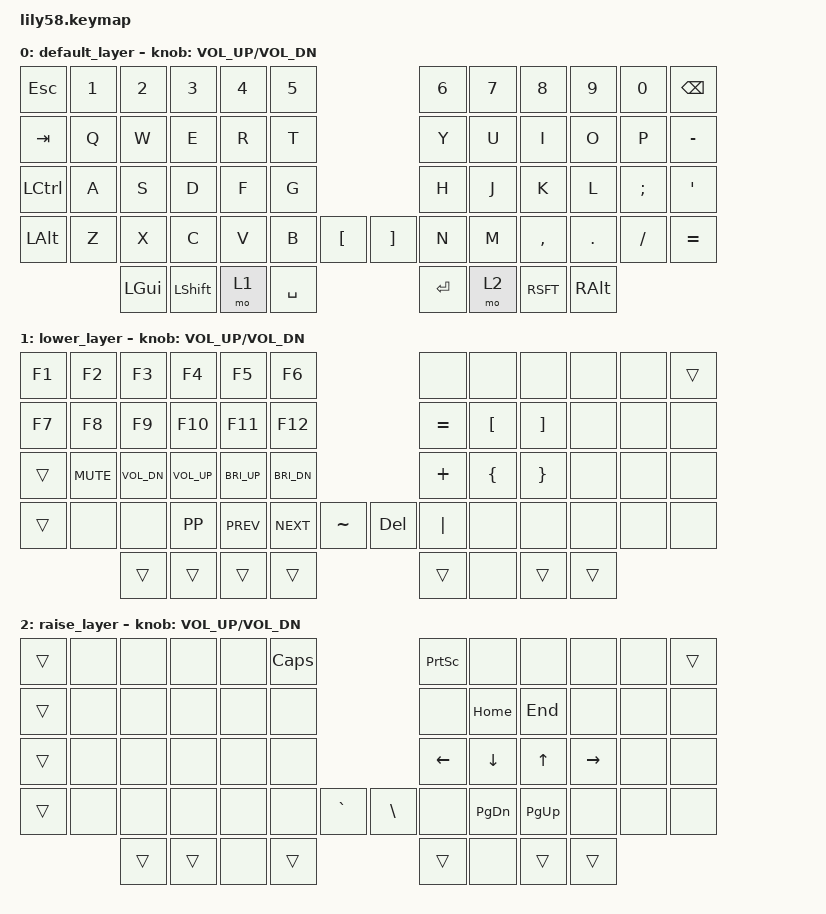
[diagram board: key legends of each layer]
/*
 * Copyright (c) 2020 The ZMK Contributors
 *
 * SPDX-License-Identifier: MIT
 */

#include <behaviors.dtsi>
#include <dt-bindings/zmk/keys.h>
#include <dt-bindings/zmk/bt.h>
#include <dt-bindings/zmk/ext_power.h>

/ {
    keymap {
        compatible = "zmk,keymap";

        default_layer {
            bindings = <
&kp ESC   &kp N1    &kp N2    &kp N3    &kp N4   &kp N5                         &kp N6   &kp N7   &kp N8    &kp N9    &kp N0   &kp BSPC
&kp TAB   &kp Q     &kp W     &kp E     &kp R    &kp T                          &kp Y    &kp U    &kp I     &kp O     &kp P    &kp MINUS
&kp LCTRL &kp A     &kp S     &kp D     &kp F    &kp G                          &kp H    &kp J    &kp K     &kp L     &kp SEMI &kp SQT
&kp LALT  &kp Z     &kp X     &kp C     &kp V    &kp B      &kp LBKT   &kp RBKT &kp N    &kp M    &kp COMMA &kp DOT   &kp FSLH &kp EQUAL
                    &kp LGUI  &kp LSHFT &mo 1    &kp SPACE                      &kp RET  &mo 2    &kp RSFT  &kp RALT
            >;
            sensor-bindings = <&inc_dec_kp C_VOL_UP C_VOL_DN>;
        };

        lower_layer {
            bindings = <
&kp F1    &kp F2      &kp F3       &kp F4       &kp F5       &kp F6                           &none     &none    &none    &none   &none   &trans
&kp F7    &kp F8      &kp F9       &kp F10      &kp F11      &kp F12                          &kp EQUAL &kp LBKT &kp RBKT &none   &none   &none
&trans    &kp C_MUTE  &kp C_VOL_DN &kp C_VOL_UP &kp C_BRI_UP &kp C_BRI_DN                     &kp PLUS  &kp LBRC &kp RBRC &none   &none   &none
&trans    &none       &none        &kp K_PP     &kp K_PREV   &kp K_NEXT   &kp TILDE   &kp DEL &kp PIPE  &none    &none    &none   &none   &none
                      &trans       &trans       &trans       &trans                           &trans    &none    &trans   &trans
            >;
            sensor-bindings = <&inc_dec_kp C_VOL_UP C_VOL_DN>;
        };

        raise_layer {
            bindings = <
&trans  &none  &none  &none  &none  &kp CAPS                        &kp PSCRN &none     &none     &none     &none   &trans
&trans  &none  &none  &none  &none  &none                           &none     &kp HOME  &kp END   &none     &none   &none
&trans  &none  &none  &none  &none  &none                           &kp LEFT  &kp DOWN  &kp UP    &kp RIGHT &none   &none
&trans  &none  &none  &none  &none  &none    &kp GRAVE     &kp BSLH &none     &kp PG_DN &kp PG_UP &none     &none   &none
               &trans &trans &none  &trans                          &trans     &none    &trans    &trans
            >;
            sensor-bindings = <&inc_dec_kp C_VOL_UP C_VOL_DN>;
        };
    };
};
